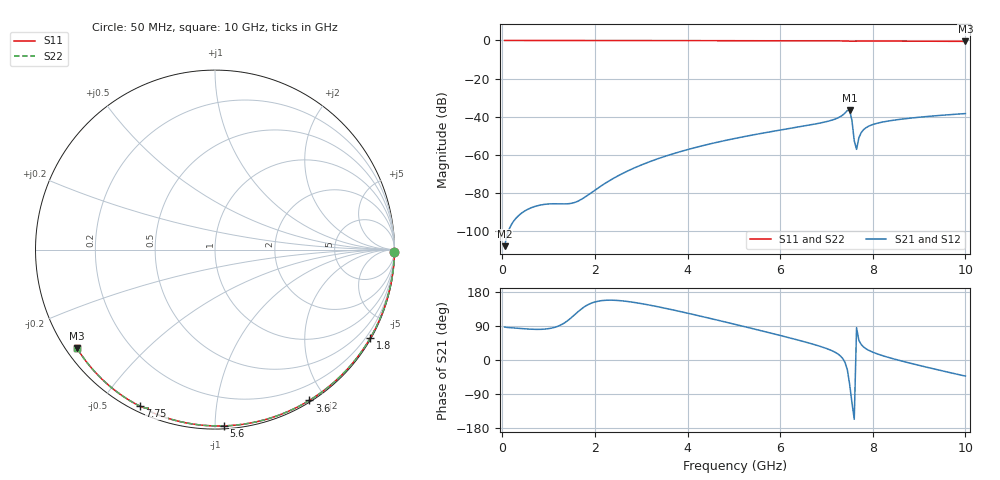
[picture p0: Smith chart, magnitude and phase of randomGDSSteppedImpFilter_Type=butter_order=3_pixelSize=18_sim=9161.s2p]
! freq	dB(S11)	phase(S11)	dB(S12)	phase(S12)
!  dB(S21)	phase(S21)	dB(S22)	phase(S22)
!S-par simulation data
#  GHz  S  DB  R 50
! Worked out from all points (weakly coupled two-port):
!   200 points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, 50 MHz to 10 GHz, reference 50 ohm
!   highest |S21| = -36.69 dB at 7.5 GHz (marker M1); lowest = -108.1 dB at 50 MHz (marker M2)
!   lowest |S11| = -0.5 dB at 10 GHz (marker M3), VSWR 35.17, Z = 1.57 - j16 ohm
!   |S11| at or under -10 dB: nowhere
!   |S22| runs from -0.5 to 0.0 dB; largest |S21 - S12| = 0
!   S11 on the Smith chart (normalised r, x): 50 MHz: open; 1.8 GHz: 0.03, -3.77; 3.6 GHz: 0.02, -1.81; 5.6 GHz: 0.02, -1.05; 7.75 GHz: 0.02, -0.63; 10 GHz: 0.03, -0.32
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0.05  -0.00 -0.8  -108.12 87.0  -108.12 87.0  -0.00 -0.8
1.75  -0.04 -28.9  -82.89 138.5  -82.89 138.5  -0.04 -28.9
1.8  -0.04 -29.7  -82.11 142.5  -82.11 142.5  -0.04 -29.7
1.95  -0.04 -32.1  -79.56 151.3  -79.56 151.3  -0.04 -32.1
2.6  -0.05 -42.5  -69.87 155.9  -69.87 155.9  -0.05 -42.5
3.4  -0.07 -54.9  -61.82 139.6  -61.82 139.6  -0.07 -54.9
3.6  -0.08 -58.0  -60.22 134.4  -60.22 134.4  -0.08 -58.0
5.05  -0.12 -79.3  -51.37 93.4  -51.37 93.4  -0.12 -79.3
5.6  -0.14 -87.1  -48.81 77.0  -48.81 77.0  -0.14 -87.0
6.7  -0.20 -102.1  -44.18 42.1  -44.18 42.1  -0.20 -102.1
7.2  -0.23 -108.8  -41.19 19.5  -41.19 19.5  -0.23 -108.8
7.45  -0.30 -112.6  -36.83 -25.2  -36.83 -25.2  -0.30 -112.5
7.5  -0.39 -112.9  -36.69 -63.4  -36.69 -63.4  -0.38 -112.9
7.55  -0.37 -113.0  -42.00 -112.2  -42.00 -112.2  -0.37 -113.0
7.6  -0.32 -113.5  -52.75 -156.3  -52.75 -156.3  -0.32 -113.5
7.65  -0.30 -114.2  -57.24 85.4  -57.24 85.4  -0.30 -114.2
7.7  -0.29 -114.9  -51.11 51.8  -51.11 51.8  -0.29 -114.9
7.75  -0.29 -115.6  -48.44 40.9  -48.44 40.9  -0.29 -115.6
7.85  -0.29 -116.9  -45.92 29.9  -45.92 29.9  -0.29 -116.9
7.95  -0.29 -118.3  -44.65 23.3  -44.65 23.3  -0.29 -118.2
8.35  -0.32 -123.5  -42.28 6.4  -42.28 6.4  -0.32 -123.4
10  -0.49 -144.6  -38.44 -42.5  -38.44 -42.5  -0.49 -144.5
